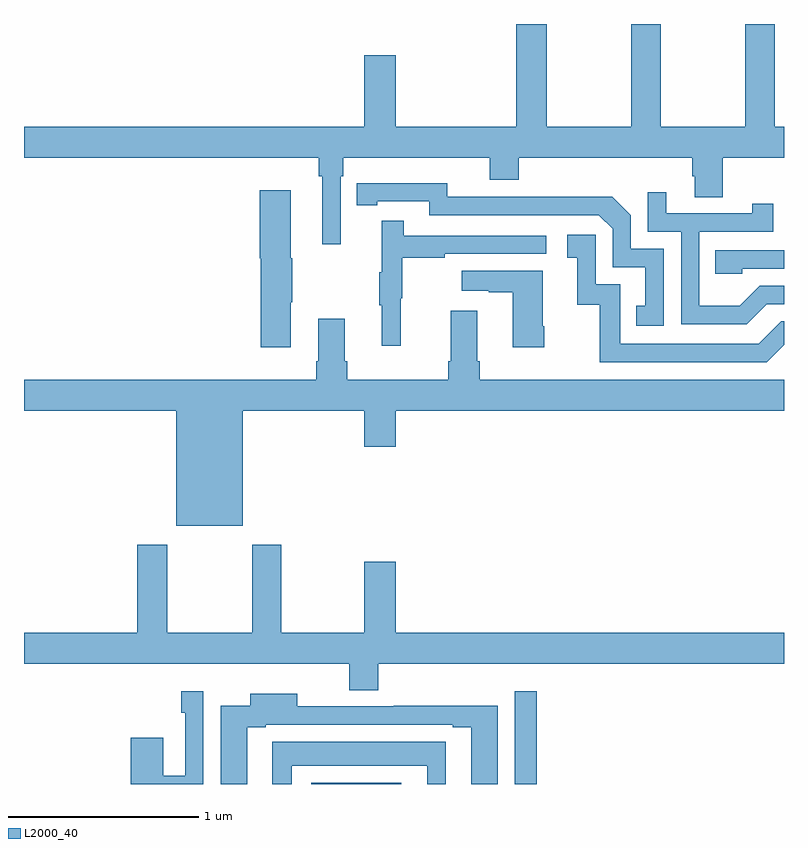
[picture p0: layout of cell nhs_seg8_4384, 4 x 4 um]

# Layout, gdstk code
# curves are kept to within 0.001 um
import gdstk
lib = gdstk.Library(unit=1e-6, precision=1e-09)
def R(c, l, rs):  # rectangles x0, y0, x1, y1
    for r in rs: c.add(gdstk.rectangle(r[:2], r[2:], *l))
def P(c, l, *ps):  # polygons
    for p in ps: c.add(gdstk.Polygon(p, *l))
L2000_40 = (2000, 40)

nhs_seg8_4384 = lib.new_cell('nhs_seg8_4384')
R(nhs_seg8_4384, L2000_40, [(380.511,1083.9,380.986,1083.907), (381.582,1083.9,381.698,1084.387)])
P(nhs_seg8_4384, L2000_40, [(379,1087.196),(380.551,1087.196),(380.551,1087.1),(380.57,1087.1),(380.57,1086.741),(380.667,1086.741),(380.667,1087.1),(380.681,1087.1),(380.681,1087.196),(381.452,1087.196),(381.452,1087.079),(381.605,1087.079),(381.605,1087.196),(382.517,1087.196),(382.517,1087.098),(382.529,1087.098),(382.529,1086.988),(382.677,1086.988),(382.677,1087.196),(383,1087.196),(383,1087.36),(382.95,1087.36),(382.95,1087.9),(382.795,1087.9),(382.795,1087.36),(382.35,1087.36),(382.35,1087.9),(382.195,1087.9),(382.195,1087.36),(381.75,1087.36),(381.75,1087.9),(381.59,1087.9),(381.59,1087.36),(380.956,1087.36),(380.956,1087.735),(380.792,1087.735),(380.792,1087.36),(379,1087.36)],
  [(382.368,1086.717),(382.194,1086.717),(382.194,1086.894),(382.096,1086.992),(381.688,1086.992),(381.688,1086.99),(381.228,1086.99),(381.228,1087.063),(380.752,1087.062),(380.752,1086.946),(380.86,1086.946),(380.86,1086.966),(381.132,1086.966),(381.132,1086.894),(382.026,1086.894),(382.098,1086.822),(382.098,1086.621),(382.271,1086.621),(382.271,1086.417),(382.222,1086.417),(382.222,1086.312),(382.368,1086.312)],
  [(380.404,1086.436),(380.412,1086.436),(380.412,1086.666),(380.404,1086.666),(380.404,1087.024),(380.24,1087.024),(380.24,1086.666),(380.246,1086.666),(380.246,1086.198),(380.404,1086.198)],
  [(382.909,1086.426),(383,1086.426),(383,1086.522),(382.872,1086.522),(382.768,1086.418),(382.554,1086.418),(382.554,1086.807),(382.943,1086.807),(382.943,1086.955),(382.832,1086.955),(382.832,1086.903),(382.381,1086.903),(382.381,1087.015),(382.284,1087.015),(382.284,1086.807),(382.458,1086.807),(382.458,1086.321),(382.804,1086.321)],
  [(380.984,1086.456),(380.992,1086.456),(380.992,1086.67),(381.215,1086.67),(381.215,1086.69),(381.748,1086.69),(381.748,1086.786),(380.999,1086.786),(380.999,1086.865),(380.882,1086.865),(380.882,1086.593),(380.871,1086.593),(380.871,1086.419),(380.882,1086.419),(380.882,1086.207),(380.984,1086.207)],
  [(383,1086.212),(383,1086.336),(382.986,1086.336),(382.866,1086.216),(382.137,1086.216),(382.137,1086.531),(382.008,1086.531),(382.008,1086.79),(381.858,1086.79),(381.858,1086.669),(381.911,1086.669),(381.911,1086.423),(382.029,1086.423),(382.029,1086.12),(382.908,1086.12)],
  [(382.779,1086.612),(383,1086.612),(383,1086.708),(382.639,1086.708),(382.639,1086.585),(382.779,1086.585)],
  [(381.738,1086.31),(381.73,1086.31),(381.73,1086.601),(381.303,1086.601),(381.303,1086.497),(381.446,1086.497),(381.446,1086.487),(381.572,1086.487),(381.572,1086.198),(381.738,1086.198)],
  [(380.152,1085.864),(380.792,1085.864),(380.792,1085.676),(380.956,1085.676),(380.956,1085.864),(383,1085.864),(383,1086.028),(381.398,1086.028),(381.398,1086.124),(381.385,1086.124),(381.385,1086.391),(381.245,1086.391),(381.245,1086.124),(381.233,1086.124),(381.233,1086.028),(380.702,1086.028),(380.702,1086.124),(380.689,1086.124),(380.689,1086.349),(380.549,1086.349),(380.549,1086.124),(380.537,1086.124),(380.537,1086.028),(379,1086.028),(379,1085.864),(379.802,1085.864),(379.802,1085.258),(380.152,1085.258)],
  [(380.864,1084.532),(383,1084.532),(383,1084.696),(380.956,1084.696),(380.956,1085.071),(380.792,1085.071),(380.792,1084.696),(380.355,1084.696),(380.355,1085.158),(380.2,1085.158),(380.2,1084.696),(379.755,1084.696),(379.755,1085.158),(379.595,1085.158),(379.595,1084.696),(379,1084.696),(379,1084.532),(380.711,1084.532),(380.711,1084.393),(380.864,1084.393)],
  [(379.944,1084.387),(379.828,1084.387),(379.828,1084.274),(379.848,1084.274),(379.848,1083.944),(379.732,1083.944),(379.732,1084.144),(379.562,1084.144),(379.562,1083.9),(379.944,1083.9)],
  [(380.176,1084.2),(380.272,1084.2),(380.272,1084.212),(381.257,1084.212),(381.257,1084.2),(381.353,1084.2),(381.353,1083.9),(381.493,1083.9),(381.493,1084.311),(380.947,1084.311),(380.947,1084.308),(380.437,1084.308),(380.437,1084.375),(380.192,1084.375),(380.192,1084.311),(380.036,1084.311),(380.036,1083.9),(380.176,1083.9)],
  [(380.41,1083.995),(381.122,1083.995),(381.122,1083.9),(381.22,1083.9),(381.22,1084.123),(380.306,1084.123),(380.306,1083.9),(380.41,1083.9)])

lib.write_gds('nhs_seg8_4384.gds')
